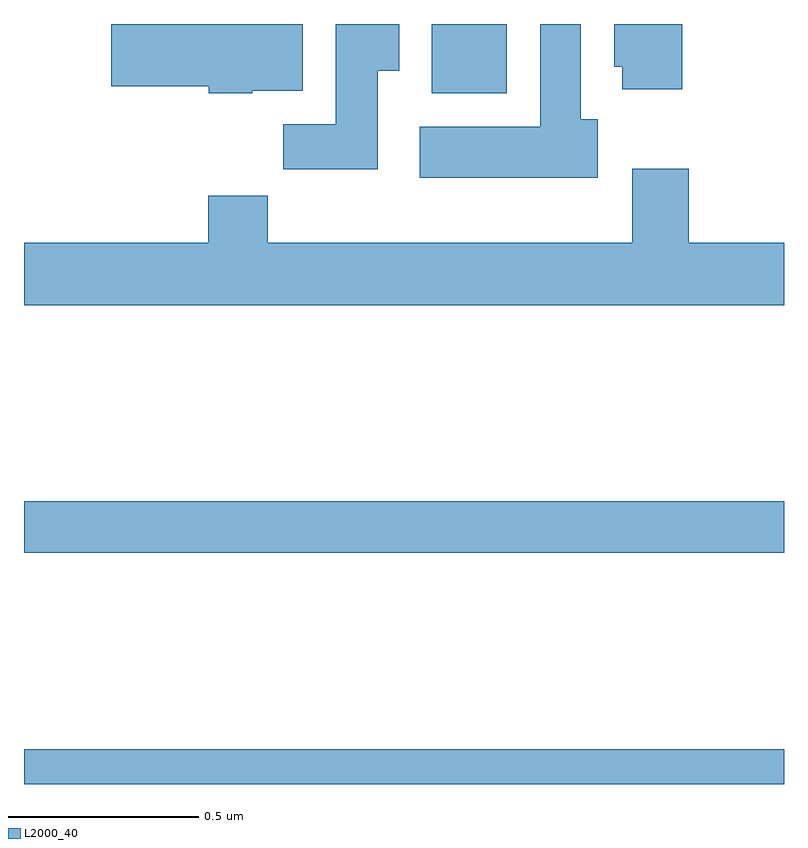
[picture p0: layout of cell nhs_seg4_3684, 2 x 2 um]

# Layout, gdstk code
import gdstk
lib = gdstk.Library(unit=1e-6, precision=1e-09)
def R(c, l, rs):  # rectangles x0, y0, x1, y1
    for r in rs: c.add(gdstk.rectangle(r[:2], r[2:], *l))
def P(c, l, *ps):  # polygons
    for p in ps: c.add(gdstk.Polygon(p, *l))
L2000_40 = (2000, 40)

nhs_seg4_3684 = lib.new_cell('nhs_seg4_3684')
R(nhs_seg4_3684, L2000_40, [(156,788.9,158,788.992), (156,789.508,158,789.644), (157.073,790.718,157.27,790.9)])
P(nhs_seg4_3684, L2000_40, [(157.51,790.65),(157.465,790.65),(157.465,790.9),(157.358,790.9),(157.358,790.63),(157.041,790.63),(157.041,790.496),(157.51,790.496)],
  [(156.931,790.777),(156.988,790.777),(156.988,790.9),(156.821,790.9),(156.821,790.636),(156.682,790.636),(156.682,790.518),(156.931,790.518)],
  [(156.6,790.724),(156.733,790.724),(156.733,790.9),(156.23,790.9),(156.23,790.736),(156.486,790.736),(156.486,790.718),(156.6,790.718)],
  [(157.732,790.9),(157.553,790.9),(157.553,790.788),(157.574,790.788),(157.574,790.728),(157.732,790.728)],
  [(158,790.324),(157.749,790.324),(157.749,790.519),(157.601,790.519),(157.601,790.324),(156.641,790.324),(156.641,790.448),(156.485,790.448),(156.485,790.324),(156,790.324),(156,790.16),(158,790.16)])

lib.write_gds('nhs_seg4_3684.gds')
